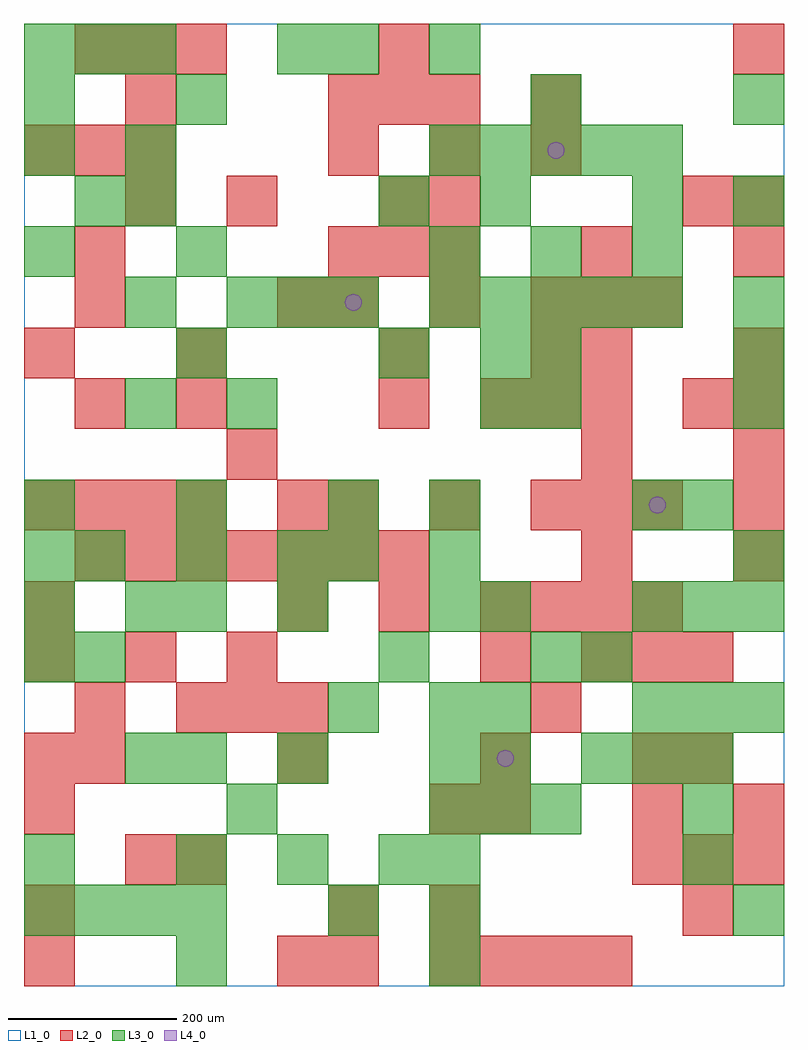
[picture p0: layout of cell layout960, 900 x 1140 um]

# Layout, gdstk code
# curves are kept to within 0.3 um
import gdstk
lib = gdstk.Library(unit=1e-6, precision=1e-09)
def R(c, l, rs):  # rectangles x0, y0, x1, y1
    for r in rs: c.add(gdstk.rectangle(r[:2], r[2:], *l))
def A(c, l, x, y, w, h, nx, ny, dx, dy):  # array of equal rectangles
    R(c, l, [(x+i*dx, y+j*dy, x+i*dx+w, y+j*dy+h) for i in range(nx) for j in range(ny)])
def P(c, l, *ps):  # polygons
    for p in ps: c.add(gdstk.Polygon(p, *l))
L1_0 = (1, 0)
L2_0 = (2, 0)
L3_0 = (3, 0)
L4_0 = (4, 0)

layout960 = lib.new_cell('layout960')
R(layout960, L1_0, [(0,0,900,1140)])
A(layout960, L2_0, 480, 0, 60, 60, 4, 1, 60, 0)
A(layout960, L2_0, 720, 120, 60, 60, 3, 1, 60, 0)
A(layout960, L2_0, 60, 240, 60, 60, 3, 1, 240, 0)
A(layout960, L2_0, 180, 300, 60, 60, 3, 1, 60, 0)
A(layout960, L2_0, 0, 360, 60, 60, 3, 1, 120, 0)
A(layout960, L2_0, 660, 360, 60, 60, 3, 1, 60, 0)
A(layout960, L2_0, 300, 420, 60, 60, 3, 1, 120, 0)
A(layout960, L2_0, 600, 420, 60, 60, 3, 1, 60, 0)
A(layout960, L2_0, 60, 480, 60, 60, 7, 1, 60, 0)
A(layout960, L2_0, 660, 480, 60, 60, 1, 3, 0, 60)
A(layout960, L2_0, 840, 480, 60, 60, 1, 5, 0, 60)
A(layout960, L2_0, 0, 540, 60, 60, 4, 1, 60, 0)
A(layout960, L2_0, 360, 540, 60, 60, 3, 2, 120, 240)
A(layout960, L2_0, 540, 660, 60, 60, 3, 1, 60, 0)
A(layout960, L2_0, 420, 720, 60, 60, 1, 3, 0, 180)
A(layout960, L2_0, 660, 720, 60, 60, 1, 3, 0, 60)
A(layout960, L2_0, 360, 840, 60, 60, 3, 2, 60, 180)
A(layout960, L2_0, 0, 960, 60, 60, 3, 1, 60, 0)
A(layout960, L2_0, 360, 960, 60, 60, 3, 1, 120, 0)
A(layout960, L2_0, 60, 1080, 60, 60, 3, 1, 60, 0)
R(layout960, L2_0, [(0,0,60,60), (300,0,360,60), (360,0,420,60), (0,60,60,120), (360,60,420,120), (480,60,540,120), (780,60,840,120), (120,120,180,180), (180,120,240,180), (0,180,60,240), (480,180,540,240), (540,180,600,240), (720,180,780,240), (840,180,900,240), (0,240,60,300), (720,240,780,300), (780,240,840,300), (60,300,120,360), (600,300,660,360), (540,360,600,420), (0,420,60,480), (300,540,360,600), (720,540,780,600), (240,600,300,660), (60,660,120,720), (180,660,240,720), (420,660,480,720), (780,660,840,720), (0,720,60,780), (180,720,240,780), (600,720,660,780), (60,780,120,840), (300,780,360,840), (720,780,780,840), (60,840,120,900), (840,840,900,900), (120,900,180,960), (240,900,300,960), (480,900,540,960), (780,900,840,960), (840,900,900,960), (120,1020,180,1080), (600,1020,660,1080), (840,1080,900,1140)])
A(layout960, L3_0, 480, 0, 60, 60, 1, 3, 0, 60)
A(layout960, L3_0, 0, 60, 60, 60, 4, 1, 60, 0)
A(layout960, L3_0, 180, 120, 60, 60, 3, 1, 120, 0)
A(layout960, L3_0, 480, 180, 60, 60, 3, 1, 60, 0)
A(layout960, L3_0, 660, 240, 60, 60, 3, 1, 60, 0)
A(layout960, L3_0, 720, 300, 60, 60, 3, 2, 60, 120)
A(layout960, L3_0, 0, 360, 60, 60, 1, 3, 0, 60)
A(layout960, L3_0, 480, 420, 60, 60, 1, 3, 0, 60)
A(layout960, L3_0, 60, 480, 60, 60, 3, 1, 120, 0)
A(layout960, L3_0, 0, 540, 60, 60, 3, 1, 180, 0)
A(layout960, L3_0, 120, 660, 60, 60, 1, 3, 0, 120)
A(layout960, L3_0, 840, 660, 60, 60, 1, 3, 0, 60)
A(layout960, L3_0, 240, 780, 60, 60, 3, 1, 60, 0)
A(layout960, L3_0, 480, 780, 60, 60, 5, 2, 60, 180)
A(layout960, L3_0, 480, 840, 60, 60, 3, 1, 120, 0)
A(layout960, L3_0, 0, 1080, 60, 60, 3, 1, 60, 0)
R(layout960, L3_0, [(180,0,240,60), (360,60,420,120), (840,60,900,120), (0,120,60,180), (780,120,840,180), (240,180,300,240), (780,180,840,240), (120,240,180,300), (180,240,240,300), (300,240,360,300), (480,240,540,300), (540,240,600,300), (360,300,420,360), (480,300,540,360), (540,300,600,360), (60,360,120,420), (420,360,480,420), (600,360,660,420), (660,360,720,420), (120,420,180,480), (180,420,240,480), (300,420,360,480), (540,420,600,480), (360,480,420,540), (840,480,900,540), (720,540,780,600), (780,540,840,600), (240,660,300,720), (540,660,600,720), (600,660,660,720), (180,720,240,780), (420,720,480,780), (540,720,600,780), (600,720,660,780), (0,840,60,900), (180,840,240,900), (60,900,120,960), (420,900,480,960), (540,900,600,960), (720,900,780,960), (840,900,900,960), (0,960,60,1020), (120,960,180,1020), (0,1020,60,1080), (180,1020,240,1080), (600,1020,660,1080), (840,1020,900,1080), (300,1080,360,1140), (360,1080,420,1140), (480,1080,540,1140)])
P(layout960, L4_0, [(400,810),(399.239,813.827),(397.071,817.071),(393.827,819.239),(390,820),(386.173,819.239),(382.929,817.071),(380.761,813.827),(380,810),(380.761,806.173),(382.929,802.929),(386.173,800.761),(390,800),(393.827,800.761),(397.071,802.929),(399.239,806.173)],
  [(580,270),(579.239,273.827),(577.071,277.071),(573.827,279.239),(570,280),(566.173,279.239),(562.929,277.071),(560.761,273.827),(560,270),(560.761,266.173),(562.929,262.929),(566.173,260.761),(570,260),(573.827,260.761),(577.071,262.929),(579.239,266.173)],
  [(640,990),(639.239,993.827),(637.071,997.071),(633.827,999.239),(630,1000),(626.173,999.239),(622.929,997.071),(620.761,993.827),(620,990),(620.761,986.173),(622.929,982.929),(626.173,980.761),(630,980),(633.827,980.761),(637.071,982.929),(639.239,986.173)],
  [(760,570),(759.239,573.827),(757.071,577.071),(753.827,579.239),(750,580),(746.173,579.239),(742.929,577.071),(740.761,573.827),(740,570),(740.761,566.173),(742.929,562.929),(746.173,560.761),(750,560),(753.827,560.761),(757.071,562.929),(759.239,566.173)])

lib.write_gds('layout960.gds')
